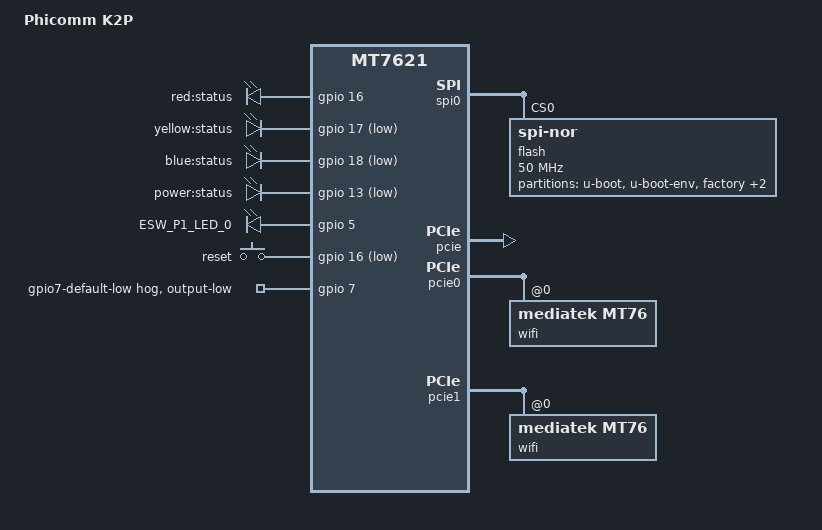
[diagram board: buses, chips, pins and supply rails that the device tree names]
#include "mt7621.dtsi"

#include <dt-bindings/gpio/gpio.h>
#include <dt-bindings/input/input.h>

/ {
	compatible = "phicomm,k2p", "mediatek,mt7621-soc";
	model = "Phicomm K2P";

	aliases {
		led-boot = &led_blue;
		led-failsafe = &led_blue;
		led-running = &led_blue;
		led-upgrade = &led_blue;
	};
	chosen {
		bootargs = "console=ttyS0,115200";
	};
   
	leds {
		compatible = "gpio-leds";

		stat_r {
			label = "red:status";
			gpios = <&gpio 16 GPIO_ACTIVE_HIGH>;
		};

		stat_y {
			label = "yellow:status";
			gpios = <&gpio 17 GPIO_ACTIVE_LOW>;
		};

		led_blue: stat_b {
			label = "blue:status";
			gpios = <&gpio 18 GPIO_ACTIVE_LOW>;
		};
		led_power:power {
			label = "power:status";
			gpios = <&gpio 13 GPIO_ACTIVE_LOW>;
		};
        esw_led0: esw_led0 {
        label = "ESW_P1_LED_0";
        gpios = <&gpio 5 GPIO_ACTIVE_HIGH>;
        default-state = "off";
		};
 

	}; 
  
	keys {
		compatible = "gpio-keys";

		reset {
			label = "reset";
			 gpios = <&gpio 16 GPIO_ACTIVE_LOW>;   /*RT-85B*/
			/*gpios = <&gpio 3 GPIO_ACTIVE_LOW>;  */ /*小米4A*/
			linux,code = <KEY_RESTART>;
		};
	};
};

&spi0 {
	status = "okay";

	flash@0 {
		compatible = "jedec,spi-nor";
		reg = <0>;
		spi-max-frequency = <50000000>;

		partitions {
			compatible = "fixed-partitions";
			#address-cells = <1>;
			#size-cells = <1>;

			partition@0 {
				label = "u-boot";
				reg = <0x0 0x30000>;
				//read-only;
			};

			partition@30000 {
				label = "u-boot-env";
				reg = <0x30000 0x10000>;
				//read-only;
			};

			factory: partition@40000 {
				label = "factory";
				reg = <0x40000 0x10000>;
			//	read-only;
			};

			partition@50000 {
				label = "permanent_config";
				reg = <0x50000 0x50000>;
				//read-only;
			};

			partition@a0000 {
				compatible = "denx,uimage";
				label = "firmware";
				reg = <0xa0000 0xf60000>;
			};
		};
	};
};

&pcie {
	status = "okay";
};
&pcie0 {
	wifi@0,0 {
		compatible = "mediatek,mt76";
		reg = <0x0000 0 0 0 0>;
		mediatek,mtd-eeprom = <&factory 0x0>;		
	};
};

&pcie1 {
	wifi@0,0 {
		compatible = "mediatek,mt76";
		reg = <0x0000 0 0 0 0>;
		mediatek,mtd-eeprom = <&factory 0x8000>;

		/* 5 GHz (phy1) does not take the address from calibration data,
		   but setting it manually here works */
		nvmem-cells = <&macaddr_factory_4>;
		nvmem-cell-names = "mac-address";
	};
};
&pcie2 {
	status = "disabled";
};

&switch0 {
	ports {
		port@4 {
			status = "okay";
			label = "lan4";
		};
	
		port@1 {
			status = "okay";
			label = "lan1";
		};

		port@2 {
			status = "okay";
			label = "lan2";
		};

		port@3 {
			status = "okay";
			label = "lan3";
		};	
		port@0 {
			status = "okay";
			label = "wan";
		};	  
	};
};

/*
&switch0 {
	ports {
		port@0 {
			status = "disabled";	
		};
		port@1 {
			status = "disabled";
		};
		port@2 {
			status = "okay";
			label = "lan2";
		};

		port@3 {
			status = "okay";
			label = "lan1";
		};
		port@4 {
			status = "okay";
			label = "wan";
		};		
	};
};*/
/*小米4A直刷bread  用K2P 调整端口可用，默认编译只支持原生UBOOT*/

&gpio {
	gpio7_default_low {
		gpio-hog;
		gpios = <7 GPIO_ACTIVE_HIGH>;
		output-low;
		line-name = "gpio7-default-low";
	};
};

&state_default {
	gpio {
		groups = "i2c", "jtag";
		function = "gpio";
	};
};

&factory {
	compatible = "nvmem-cells";
	#address-cells = <1>;
	#size-cells = <1>;

	macaddr_factory_4: macaddr@4 {
		reg = <0x4 0x6>;
	};

	macaddr_factory_e000: macaddr@e000 {
		reg = <0xe000 0x6>;
	};

	macaddr_factory_e006: macaddr@e006 {
		reg = <0xe006 0x6>;
	};
};
